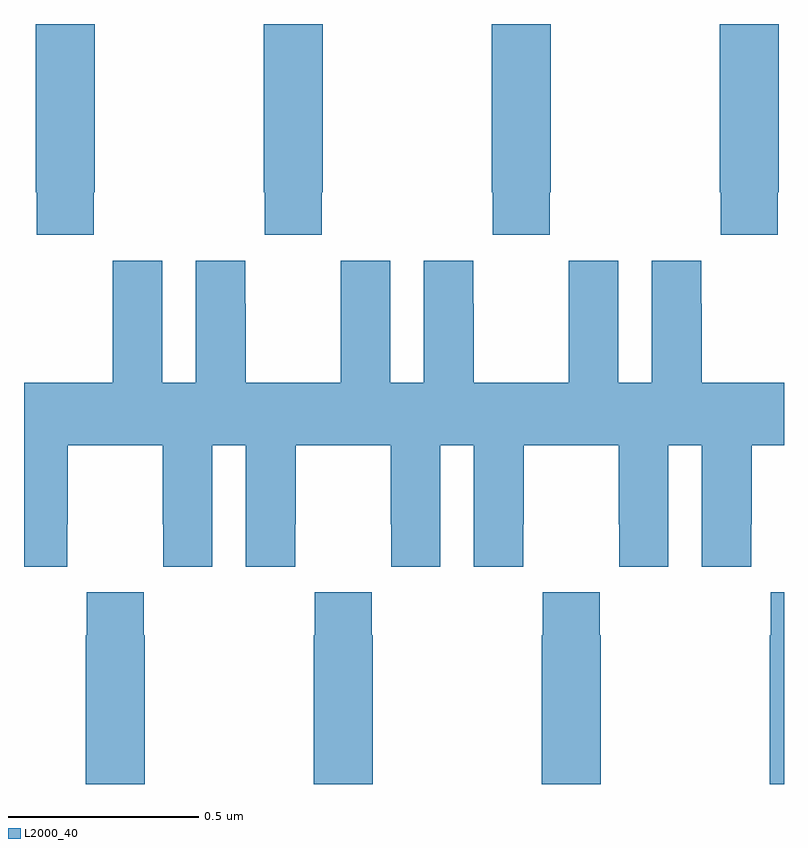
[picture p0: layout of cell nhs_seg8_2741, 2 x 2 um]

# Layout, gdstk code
import gdstk
lib = gdstk.Library(unit=1e-6, precision=1e-09)
def P(c, l, *ps):  # polygons
    for p in ps: c.add(gdstk.Polygon(p, *l))
L2000_40 = (2000, 40)

nhs_seg8_2741 = lib.new_cell('nhs_seg8_2741')
P(nhs_seg8_2741, L2000_40, [(148.983,1158.457),(148.986,1158.457),(148.986,1158.9),(148.831,1158.9),(148.831,1158.457),(148.833,1158.457),(148.833,1158.345),(148.983,1158.345)],
  [(148.383,1158.457),(148.386,1158.457),(148.386,1158.9),(148.231,1158.9),(148.231,1158.457),(148.233,1158.457),(148.233,1158.345),(148.383,1158.345)],
  [(147.183,1158.457),(147.186,1158.457),(147.186,1158.9),(147.031,1158.9),(147.031,1158.457),(147.033,1158.457),(147.033,1158.345),(147.183,1158.345)],
  [(147.783,1158.457),(147.786,1158.457),(147.786,1158.9),(147.631,1158.9),(147.631,1158.457),(147.633,1158.457),(147.633,1158.345),(147.783,1158.345)],
  [(147.114,1157.584),(147.115,1157.584),(147.115,1157.792),(147.365,1157.792),(147.365,1157.584),(147.366,1157.584),(147.366,1157.472),(147.496,1157.472),(147.496,1157.792),(147.584,1157.792),(147.584,1157.472),(147.714,1157.472),(147.714,1157.584),(147.715,1157.584),(147.715,1157.792),(147.965,1157.792),(147.965,1157.584),(147.966,1157.584),(147.966,1157.472),(148.096,1157.472),(148.096,1157.792),(148.184,1157.792),(148.184,1157.472),(148.314,1157.472),(148.314,1157.584),(148.315,1157.584),(148.315,1157.792),(148.565,1157.792),(148.565,1157.584),(148.566,1157.584),(148.566,1157.472),(148.696,1157.472),(148.696,1157.792),(148.784,1157.792),(148.784,1157.472),(148.914,1157.472),(148.914,1157.584),(148.915,1157.584),(148.915,1157.792),(149,1157.792),(149,1157.956),(148.783,1157.956),(148.783,1158.164),(148.782,1158.164),(148.782,1158.277),(148.652,1158.277),(148.652,1157.956),(148.564,1157.956),(148.564,1158.277),(148.434,1158.277),(148.434,1158.164),(148.433,1158.164),(148.433,1157.956),(148.183,1157.956),(148.183,1158.164),(148.182,1158.164),(148.182,1158.277),(148.052,1158.277),(148.052,1157.956),(147.964,1157.956),(147.964,1158.277),(147.834,1158.277),(147.834,1158.164),(147.833,1158.164),(147.833,1157.956),(147.583,1157.956),(147.583,1158.164),(147.582,1158.164),(147.582,1158.277),(147.452,1158.277),(147.452,1157.956),(147.364,1157.956),(147.364,1158.277),(147.234,1158.277),(147.234,1158.164),(147.233,1158.164),(147.233,1157.956),(147,1157.956),(147,1157.472),(147.114,1157.472)],
  [(147.318,1157.291),(147.315,1157.291),(147.315,1157.404),(147.165,1157.404),(147.165,1157.291),(147.163,1157.291),(147.163,1156.9),(147.318,1156.9)],
  [(147.765,1157.291),(147.763,1157.291),(147.763,1156.9),(147.918,1156.9),(147.918,1157.291),(147.915,1157.291),(147.915,1157.404),(147.765,1157.404)],
  [(148.518,1157.291),(148.515,1157.291),(148.515,1157.404),(148.365,1157.404),(148.365,1157.291),(148.363,1157.291),(148.363,1156.9),(148.518,1156.9)],
  [(149,1157.404),(148.965,1157.404),(148.965,1157.291),(148.963,1157.291),(148.963,1156.9),(149,1156.9)])

lib.write_gds('nhs_seg8_2741.gds')
